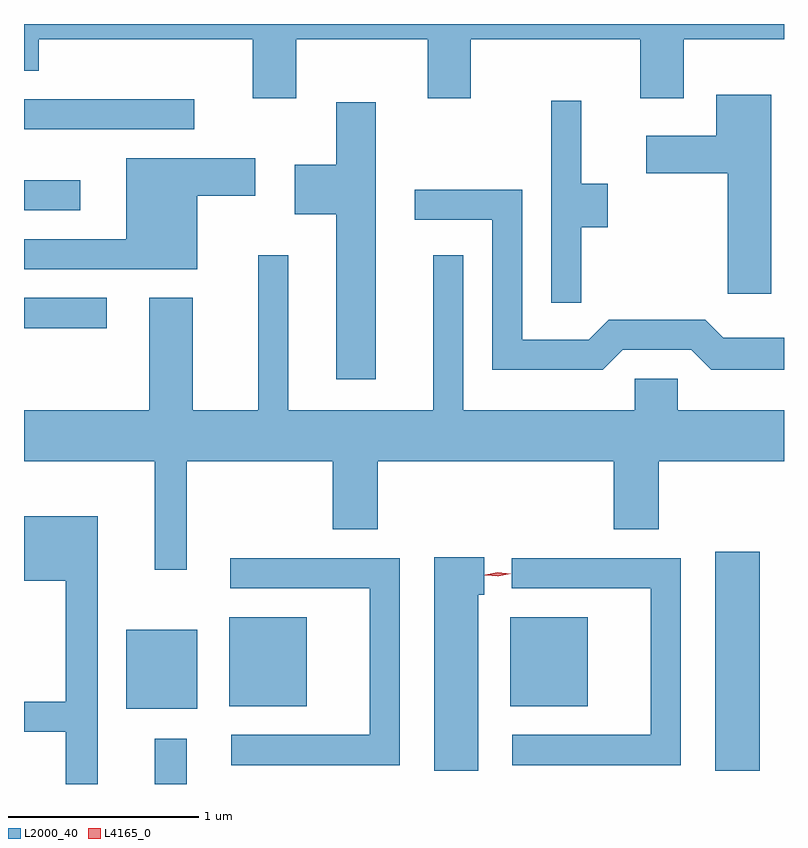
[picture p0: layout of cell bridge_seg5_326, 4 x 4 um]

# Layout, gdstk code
import gdstk
lib = gdstk.Library(unit=1e-6, precision=1e-09)
def R(c, l, rs):  # rectangles x0, y0, x1, y1
    for r in rs: c.add(gdstk.rectangle(r[:2], r[2:], *l))
def P(c, l, *ps):  # polygons
    for p in ps: c.add(gdstk.Polygon(p, *l))
L2000_40 = (2000, 40)
L4165_0 = (4165, 0)

bridge_seg5_326 = lib.new_cell('bridge_seg5_326')
R(bridge_seg5_326, L2000_40, [(805.791,1432.896,805.959,1433.133), (808.741,1432.966,808.974,1434.119), (805.641,1433.291,806.014,1433.709), (806.181,1433.306,806.589,1433.774), (807.661,1433.306,808.069,1433.774), (805.102,1435.296,805.538,1435.454), (805.102,1435.916,805.398,1436.074), (805.102,1436.341,805.998,1436.499)])
P(bridge_seg5_326, L2000_40, [(806.534,1436.816),(807.226,1436.816),(807.226,1436.506),(807.454,1436.506),(807.454,1436.816),(808.346,1436.816),(808.346,1436.506),(808.574,1436.506),(808.574,1436.816),(809.102,1436.816),(809.102,1436.896),(805.102,1436.896),(805.102,1436.651),(805.179,1436.651),(805.179,1436.816),(806.306,1436.816),(806.306,1436.506),(806.534,1436.506)],
  [(809.034,1436.524),(808.746,1436.524),(808.746,1436.309),(808.376,1436.309),(808.376,1436.111),(808.806,1436.111),(808.806,1435.476),(809.034,1435.476)],
  [(808.034,1435.826),(808.174,1435.826),(808.174,1436.054),(808.034,1436.054),(808.034,1436.493),(807.876,1436.493),(807.876,1435.428),(808.034,1435.428)],
  [(806.954,1436.484),(806.746,1436.484),(806.746,1436.154),(806.526,1436.154),(806.526,1435.896),(806.746,1435.896),(806.746,1435.026),(806.954,1435.026)],
  [(806.014,1435.991),(806.319,1435.991),(806.319,1436.189),(805.641,1436.189),(805.641,1435.764),(805.102,1435.764),(805.102,1435.606),(806.014,1435.606)],
  [(808.252,1435.181),(808.614,1435.181),(808.719,1435.076),(809.102,1435.076),(809.102,1435.244),(808.782,1435.244),(808.687,1435.339),(808.179,1435.339),(808.074,1435.234),(807.724,1435.234),(807.724,1436.024),(807.158,1436.024),(807.158,1435.866),(807.566,1435.866),(807.566,1435.076),(808.147,1435.076)],
  [(805.959,1434.596),(806.726,1434.596),(806.726,1434.236),(806.964,1434.236),(806.964,1434.596),(808.206,1434.596),(808.206,1434.236),(808.444,1434.236),(808.444,1434.596),(809.102,1434.596),(809.102,1434.864),(808.544,1434.864),(808.544,1435.029),(808.316,1435.029),(808.316,1434.864),(807.414,1434.864),(807.414,1435.678),(807.256,1435.678),(807.256,1434.864),(806.494,1434.864),(806.494,1435.678),(806.336,1435.678),(806.336,1434.864),(805.989,1434.864),(805.989,1435.454),(805.761,1435.454),(805.761,1434.864),(805.102,1434.864),(805.102,1434.596),(805.791,1434.596),(805.791,1434.023),(805.959,1434.023)],
  [(805.489,1434.304),(805.102,1434.304),(805.102,1433.966),(805.321,1433.966),(805.321,1433.329),(805.102,1433.329),(805.102,1433.171),(805.321,1433.171),(805.321,1432.896),(805.489,1432.896)],
  [(807.494,1433.891),(807.524,1433.891),(807.524,1434.089),(807.261,1434.089),(807.261,1432.966),(807.494,1432.966)],
  [(807.079,1434.084),(806.188,1434.084),(806.188,1433.926),(806.921,1433.926),(806.921,1433.154),(806.193,1433.154),(806.193,1432.996),(807.079,1432.996)],
  [(808.559,1434.084),(807.668,1434.084),(807.668,1433.926),(808.401,1433.926),(808.401,1433.154),(807.673,1433.154),(807.673,1432.996),(808.559,1432.996)])
P(bridge_seg5_326, L4165_0, [(807.596,1433.99),(807.53,1433.997),(807.529,1433.998),(807.53,1433.998),(807.595,1434.01),(807.662,1434.003),(807.662,1434.003),(807.662,1434.002)],
  [(807.597,1433.989),(807.527,1433.995),(807.527,1433.995),(807.527,1433.996),(807.595,1434.009),(807.665,1434.003),(807.665,1434.003),(807.665,1434.002)])

lib.write_gds('bridge_seg5_326.gds')
